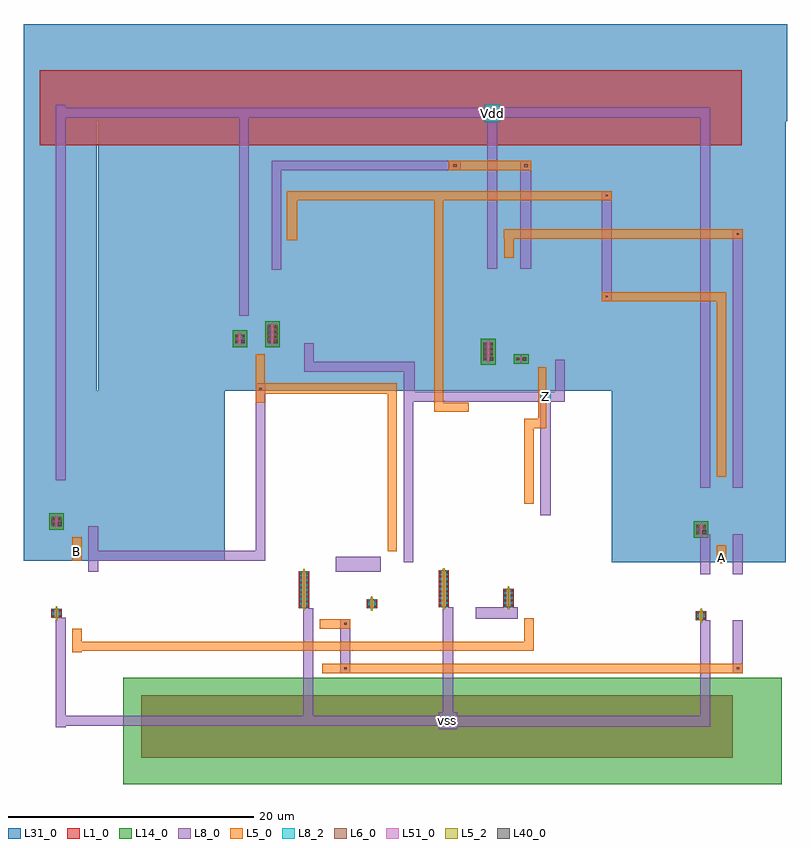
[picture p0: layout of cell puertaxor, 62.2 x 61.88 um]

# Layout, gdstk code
import gdstk
lib = gdstk.Library(unit=1e-6, precision=5e-09)
def R(c, l, rs):  # rectangles x0, y0, x1, y1
    for r in rs: c.add(gdstk.rectangle(r[:2], r[2:], *l))
def A(c, l, x, y, w, h, nx, ny, dx, dy):  # array of equal rectangles
    R(c, l, [(x+i*dx, y+j*dy, x+i*dx+w, y+j*dy+h) for i in range(nx) for j in range(ny)])
L1_0 = (1, 0)
L5_0 = (5, 0)
L5_2 = (5, 2)
L6_0 = (6, 0)
L8_0 = (8, 0)
L8_2 = (8, 2)
L14_0 = (14, 0)
L31_0 = (31, 0)
L40_0 = (40, 0)
L51_0 = (51, 0)

nmos_1_3 = lib.new_cell('nmos$1$3')
R(nmos_1_3, L1_0, [(0,0,0.3,0.3), (0,0,0.83,3), (0.53,0,0.83,0.3)])
R(nmos_1_3, L5_0, [(0.34,-0.18,0.49,3.18)])
R(nmos_1_3, L5_2, [(0.34,-0.18,0.49,3.18)])
A(nmos_1_3, L6_0, 0.07, 0.07, 0.16, 0.16, 1, 7, 0, 0.385)
A(nmos_1_3, L6_0, 0.6, 0.07, 0.16, 0.16, 1, 7, 0, 0.385)
R(nmos_1_3, L6_0, [(0.07,2.77,0.23,2.93), (0.6,2.77,0.76,2.93)])
R(nmos_1_3, L8_0, [(0.07,0,0.23,3), (0.6,0,0.76,3)])
R(nmos_1_3, L8_2, [(0.07,0,0.23,3), (0.6,0,0.76,3)])
R(nmos_1_3, L51_0, [(0.34,-0.18,0.49,3.18)])
nmos_1_3.add(gdstk.Label('nmos', (0.415,1.5), layer=63, texttype=0))
nmos_1_3.add(gdstk.Label('nmos', (0.415,1.5), layer=51, texttype=0))

nmos_2_1 = lib.new_cell('nmos$2$1')
R(nmos_2_1, L1_0, [(0,0,0.3,0.3), (0,0,0.83,0.75), (0.53,0,0.83,0.3)])
R(nmos_2_1, L5_0, [(0.34,-0.18,0.49,0.93)])
R(nmos_2_1, L5_2, [(0.34,-0.18,0.49,0.93)])
R(nmos_2_1, L6_0, [(0.07,0.07,0.23,0.23), (0.6,0.07,0.76,0.23), (0.07,0.52,0.23,0.68), (0.6,0.52,0.76,0.68)])
R(nmos_2_1, L8_0, [(0.07,0,0.23,0.75), (0.6,0,0.76,0.75)])
R(nmos_2_1, L8_2, [(0.07,0,0.23,0.75), (0.6,0,0.76,0.75)])
R(nmos_2_1, L51_0, [(0.34,-0.18,0.49,0.93)])
nmos_2_1.add(gdstk.Label('nmos', (0.415,0.375), layer=63, texttype=0))
nmos_2_1.add(gdstk.Label('nmos', (0.415,0.375), layer=51, texttype=0))

nmos_3_1 = lib.new_cell('nmos$3$1')
R(nmos_3_1, L1_0, [(0,0,0.3,0.3), (0,0,0.83,1.5), (0.53,0,0.83,0.3)])
R(nmos_3_1, L5_0, [(0.34,-0.18,0.49,1.68)])
R(nmos_3_1, L5_2, [(0.34,-0.18,0.49,1.68)])
A(nmos_3_1, L6_0, 0.07, 0.07, 0.16, 0.16, 1, 4, 0, 0.4)
A(nmos_3_1, L6_0, 0.6, 0.07, 0.16, 0.16, 1, 4, 0, 0.4)
R(nmos_3_1, L8_0, [(0.07,0,0.23,1.5), (0.6,0,0.76,1.5)])
R(nmos_3_1, L8_2, [(0.07,0,0.23,1.5), (0.6,0,0.76,1.5)])
R(nmos_3_1, L51_0, [(0.34,-0.18,0.49,1.68)])
nmos_3_1.add(gdstk.Label('nmos', (0.415,0.75), layer=63, texttype=0))
nmos_3_1.add(gdstk.Label('nmos', (0.415,0.75), layer=51, texttype=0))

pmos_5 = lib.new_cell('pmos$5')
R(pmos_5, L1_0, [(0,0,0.3,0.3), (0.57,0,0.87,0.3), (0,0.075,0.87,0.225)])
R(pmos_5, L5_0, [(0.37,-0.105,0.5,0.405), (0.37,-0.105,0.5,0.405)])
R(pmos_5, L6_0, [(0.07,0.07,0.23,0.23), (0.64,0.07,0.8,0.23)])
R(pmos_5, L8_0, [(0.07,0.02,0.23,0.28), (0.07,0.02,0.23,0.28), (0.64,0.02,0.8,0.28), (0.64,0.02,0.8,0.28)])
R(pmos_5, L14_0, [(-0.18,-0.225,1.05,0.525)])
R(pmos_5, L31_0, [(-0.31,-0.31,1.18,0.61)])
R(pmos_5, L40_0, [(0.57,0,0.87,0.3)])
R(pmos_5, L51_0, [(0.37,-0.105,0.5,0.405)])
pmos_5.add(gdstk.Label('pmos', (0.435,0.15), layer=63, texttype=0))
pmos_5.add(gdstk.Label('pmos', (0.435,0.15), layer=51, texttype=0))

pmos_2_1 = lib.new_cell('pmos$2$1')
R(pmos_2_1, L1_0, [(0,0,0.3,0.3), (0,0,0.83,1.5), (0.53,0,0.83,0.3)])
R(pmos_2_1, L5_0, [(0.34,-0.18,0.49,1.68), (0.34,-0.18,0.49,1.68)])
A(pmos_2_1, L6_0, 0.07, 0.07, 0.16, 0.16, 1, 4, 0, 0.4)
A(pmos_2_1, L6_0, 0.6, 0.07, 0.16, 0.16, 1, 4, 0, 0.4)
R(pmos_2_1, L8_0, [(0.07,0,0.23,1.5), (0.07,0,0.23,1.5), (0.6,0,0.76,1.5), (0.6,0,0.76,1.5)])
R(pmos_2_1, L14_0, [(-0.18,-0.3,1.01,1.8)])
R(pmos_2_1, L31_0, [(-0.31,-0.31,1.14,1.81)])
R(pmos_2_1, L40_0, [(0.53,0,0.83,0.3)])
R(pmos_2_1, L51_0, [(0.34,-0.18,0.49,1.68)])
pmos_2_1.add(gdstk.Label('pmos', (0.415,0.75), layer=63, texttype=0))
pmos_2_1.add(gdstk.Label('pmos', (0.415,0.75), layer=51, texttype=0))

pmos_1_3 = lib.new_cell('pmos$1$3')
R(pmos_1_3, L1_0, [(0,0,0.3,0.3), (0,0,0.83,0.75), (0.53,0,0.83,0.3)])
R(pmos_1_3, L5_0, [(0.34,-0.18,0.49,0.93), (0.34,-0.18,0.49,0.93)])
R(pmos_1_3, L6_0, [(0.07,0.07,0.23,0.23), (0.6,0.07,0.76,0.23), (0.07,0.52,0.23,0.68), (0.6,0.52,0.76,0.68)])
R(pmos_1_3, L8_0, [(0.07,0,0.23,0.75), (0.07,0,0.23,0.75), (0.6,0,0.76,0.75), (0.6,0,0.76,0.75)])
R(pmos_1_3, L14_0, [(-0.18,-0.3,1.01,1.05)])
R(pmos_1_3, L31_0, [(-0.31,-0.31,1.14,1.06)])
R(pmos_1_3, L40_0, [(0.53,0,0.83,0.3)])
R(pmos_1_3, L51_0, [(0.34,-0.18,0.49,0.93)])
pmos_1_3.add(gdstk.Label('pmos', (0.415,0.375), layer=63, texttype=0))
pmos_1_3.add(gdstk.Label('pmos', (0.415,0.375), layer=51, texttype=0))

puertaxor = lib.new_cell('puertaxor')
R(puertaxor, L1_0, [(-19.17,-11.33,28.965,-6.25), (-27.45,38.525,29.695,44.625)])
R(puertaxor, L5_0, [(-4.45,-4.45,29.775,-3.7), (-24.8,-2.75,-24.05,-0.85), (-24.8,-2.625,12.75,-1.875), (12,-2,12.75,0.025), (-4.65,-0.825,-2.175,-0.075), (-4.65,-0.075,-3.9,-0.05), (27.675,4.5,28.425,5.975), (-24.8,4.7,-24.05,6.625), (0.875,5.475,1.625,18.3), (12,9.325,12.75,16.275), (27.675,11.525,28.425,26.575), (12,15.475,13.8,16.275), (13.15,15.475,13.8,20.45), (4.65,16.825,7.475,17.575), (4.65,16.825,5.4,34.8), (-9.875,17.55,-9.125,20), (-9.875,18.3,1.625,19.15), (-9.875,20,-9.125,21.5), (18.3,25.825,28.425,26.575), (10.35,29.375,11.125,31.675), (-7.325,30.8,-6.475,34.8), (10.325,30.925,29.775,31.675), (-7.325,34.05,19.1,34.8), (5.85,36.475,12.575,37.275)])
R(puertaxor, L5_2, [(27.675,4.675,28.425,5.24), (-24.8,5.05,-24.05,5.875)])
R(puertaxor, L6_0, [(5.5,-8.65,6.125,-8.05), (-2.65,-4.125,-2.475,-3.975), (29.275,-4.125,29.5,-3.95), (-2.65,-0.5,-2.45,-0.35), (-9.575,18.625,-9.375,18.8), (18.625,26.15,18.8,26.275), (29.3,31.25,29.45,31.375), (18.625,34.375,18.775,34.5), (12,36.75,12.275,37), (6.2,36.775,6.5,36.975), (9.175,40.85,9.7,41.4)])
R(puertaxor, L8_0, [(5.05,-9,6.525,-7.65), (-26.15,-8.875,-25.35,0.05), (5.375,-8.825,27.125,-7.925), (26.325,-8.825,27.125,-0.15), (-6,-8.75,-5.2,0.85), (-6,-8.75,6.425,-7.925), (5.375,-8.75,6.2,0.925), (-26.15,-8.725,-5.25,-7.925), (-2.975,-4.45,-2.175,-0.075), (28.975,-4.45,29.775,-3.95), (28.975,-3.95,29.775,-3.875), (28.975,-3.875,29.775,-3.2), (28.975,-3.2,29.775,-0.15), (8.025,-0.025,11.45,0.925), (26.325,3.6,27.125,6.875), (28.975,3.6,29.775,6.875), (-23.5,3.8,-22.7,7.525), (-3.35,3.825,0.325,5.025), (2.175,4.575,2.975,18.45), (-23.5,4.7,-9.55,5.5), (-9.875,4.7,-9.075,19.15), (13.3,8.425,14.15,18.45), (26.325,10.625,27.125,41.625), (28.975,10.625,29.775,31.675), (-26.15,11.275,-25.35,41.825), (2.175,17.65,14.15,18.45), (13.3,17.65,15.3,18.45), (14.5,17.725,15.3,21.075), (2.175,18.45,3.075,20.9), (-5.925,20.1,3.075,20.9), (-5.925,20.1,-5.125,22.4), (-11.225,24.65,-10.425,41.575), (18.3,25.825,19.1,34.8), (-8.575,28.4,-7.775,33), (9,28.475,9.8,41.5), (11.65,28.475,12.575,33), (-8.575,33,-7.775,37.275), (11.65,33,12.575,37.275), (-8.575,36.475,6.825,37.275), (8.775,40.4,10,41.85), (-26.15,40.75,-10.45,41.575), (-11.225,40.775,9.8,41.575), (8.825,40.775,27.125,41.625)])
R(puertaxor, L8_2, [(5.375,-8.75,6.2,-7.925), (13.3,17.725,14.15,18.45), (8.775,40.4,10,41.85)])
R(puertaxor, L14_0, [(-20.65,-13.475,32.95,-4.825)])
R(puertaxor, L31_0, [(19.1,4.575,33.275,40.5), (-28.775,4.7,-12.375,18.55), (-28.775,18.55,-22.825,48.4), (-22.7,18.55,19.1,40.75), (-22.825,40.5,33.425,48.4)])
puertaxor.add(gdstk.Reference(nmos_1_3, (5.025,0.925)))
puertaxor.add(gdstk.Reference(nmos_1_3, (-6.35,0.85)))
puertaxor.add(gdstk.Reference(nmos_2_1, (-0.825,0.825)))
puertaxor.add(gdstk.Reference(nmos_3_1, (10.3,0.925)))
puertaxor.add(gdstk.Reference(pmos_5, (11.3,20.975)))
puertaxor.add(gdstk.Reference(pmos_2_1, (8.65,20.975)))
puertaxor.add(gdstk.Reference(pmos_1_3, (-11.575,22.4)))
puertaxor.add(gdstk.Reference(pmos_2_1, (-8.925,22.4)))
puertaxor.add(gdstk.Reference(nmos_2_1, (-26.5,0.05)))
puertaxor.add(gdstk.Reference(nmos_2_1, (25.975,-0.15)))
puertaxor.add(gdstk.Reference(pmos_1_3, (-26.5,7.525)))
puertaxor.add(gdstk.Reference(pmos_1_3, (25.975,6.875)))
puertaxor.add(gdstk.Label('vss', (5.785,-8.34), layer=8, texttype=2))
puertaxor.add(gdstk.Label('Z', (13.725,18.085), layer=8, texttype=2))
puertaxor.add(gdstk.Label('Vdd', (9.385,41.125), layer=8, texttype=2))
puertaxor.add(gdstk.Label('B', (-24.425,5.46), layer=5, texttype=2))
puertaxor.add(gdstk.Label('A', (28.05,4.955), layer=5, texttype=2))

lib.write_gds('puertaxor.gds')
